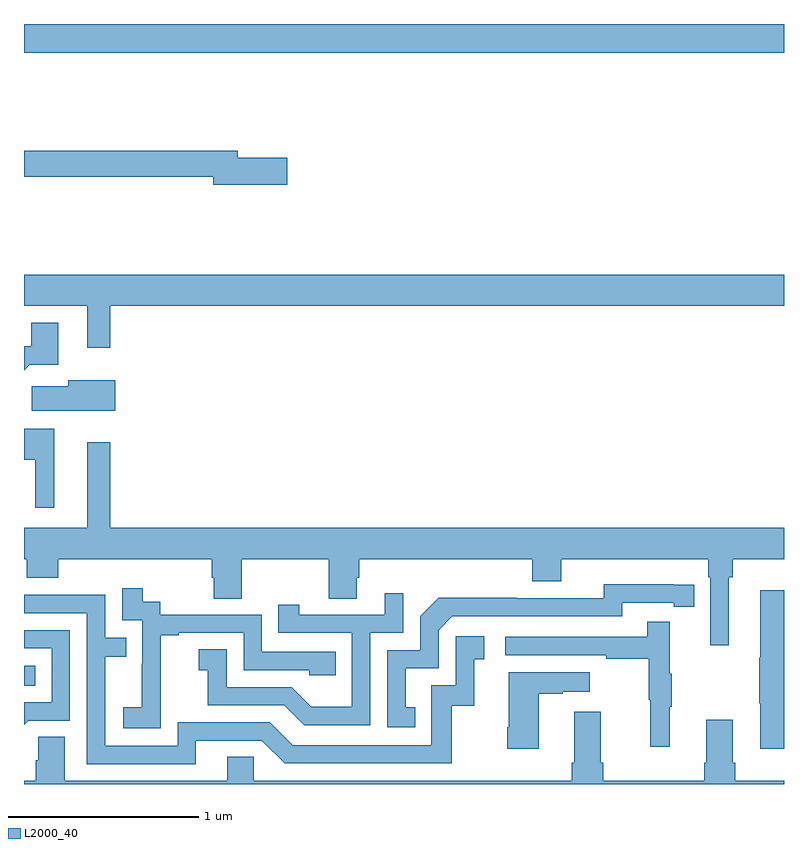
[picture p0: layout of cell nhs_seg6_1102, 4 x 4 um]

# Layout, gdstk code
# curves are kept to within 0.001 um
import gdstk
lib = gdstk.Library(unit=1e-6, precision=1e-09)
def R(c, l, rs):  # rectangles x0, y0, x1, y1
    for r in rs: c.add(gdstk.rectangle(r[:2], r[2:], *l))
def P(c, l, *ps):  # polygons
    for p in ps: c.add(gdstk.Polygon(p, *l))
L2000_40 = (2000, 40)

nhs_seg6_1102 = lib.new_cell('nhs_seg6_1102')
R(nhs_seg6_1102, L2000_40, [(179,932.018,179.06,932.122), (179,935.348,183,935.5)])
P(nhs_seg6_1102, L2000_40, [(180.385,934.796),(180.124,934.796),(180.124,934.832),(179,934.832),(179,934.696),(179.996,934.696),(179.996,934.654),(180.385,934.654)],
  [(179.455,934.016),(183,934.016),(183,934.18),(179,934.18),(179,934.016),(179.333,934.016),(179.333,933.795),(179.455,933.795)],
  [(179.03,933.707),(179.179,933.707),(179.179,933.928),(179.039,933.928),(179.039,933.805),(179,933.805),(179,933.677)],
  [(179.479,933.625),(179.234,933.625),(179.234,933.593),(179.04,933.593),(179.04,933.464),(179.479,933.464)],
  [(179.158,933.37),(179,933.37),(179,933.206),(179.06,933.206),(179.06,932.955),(179.158,932.955)],
  [(182.71,932.588),(182.729,932.588),(182.729,932.684),(183,932.684),(183,932.848),(179.455,932.848),(179.455,933.298),(179.333,933.298),(179.333,932.848),(179,932.848),(179,932.684),(179.015,932.684),(179.015,932.585),(179.18,932.585),(179.18,932.684),(179.987,932.684),(179.987,932.586),(179.999,932.586),(179.999,932.476),(180.147,932.476),(180.147,932.684),(180.604,932.684),(180.604,932.476),(180.751,932.476),(180.751,932.586),(180.764,932.586),(180.764,932.684),(181.676,932.684),(181.676,932.567),(181.828,932.567),(181.828,932.684),(182.6,932.684),(182.6,932.588),(182.613,932.588),(182.613,932.229),(182.71,932.229)],
  [(181.058,931.905),(181.009,931.905),(181.009,932.109),(181.182,932.109),(181.182,932.31),(181.254,932.382),(182.148,932.382),(182.148,932.454),(182.42,932.454),(182.42,932.434),(182.528,932.434),(182.528,932.55),(182.052,932.551),(182.052,932.478),(181.592,932.478),(181.592,932.48),(181.184,932.48),(181.086,932.382),(181.086,932.205),(180.912,932.205),(180.912,931.8),(181.058,931.8)],
  [(179.721,931.999),(179.72,931.999),(179.72,932.283),(179.815,932.283),(179.815,932.295),(180.156,932.295),(180.156,932.1),(180.501,932.1),(180.501,932.073),(180.641,932.073),(180.641,932.196),(180.252,932.196),(180.252,932.391),(179.718,932.391),(179.718,932.46),(179.626,932.46),(179.626,932.53),(179.517,932.53),(179.517,932.361),(179.622,932.361),(179.622,932.132),(179.621,932.132),(179.621,931.903),(179.523,931.903),(179.523,931.793),(179.721,931.793)],
  [(183,932.521),(182.876,932.521),(182.876,932.165),(182.869,932.165),(182.869,931.924),(182.876,931.924),(182.876,931.686),(183,931.686)],
  [(180.822,932.295),(180.996,932.295),(180.996,932.503),(180.899,932.503),(180.899,932.391),(180.448,932.391),(180.448,932.443),(180.337,932.443),(180.337,932.295),(180.726,932.295),(180.726,931.906),(180.512,931.906),(180.408,932.01),(180.066,932.01),(180.066,932.209),(179.919,932.209),(179.919,932.099),(179.968,932.099),(179.968,931.914),(180.371,931.914),(180.476,931.809),(180.822,931.809)],
  [(179.905,931.728),(180.252,931.728),(180.372,931.608),(181.252,931.608),(181.252,931.911),(181.37,931.911),(181.37,932.157),(181.423,932.157),(181.423,932.278),(181.272,932.278),(181.272,932.019),(181.143,932.019),(181.143,931.704),(180.414,931.704),(180.294,931.824),(179.808,931.824),(179.808,931.701),(179.427,931.701),(179.427,932.17),(179.537,932.17),(179.537,932.271),(179.427,932.271),(179.427,932.496),(179,932.496),(179,932.4),(179.331,932.4),(179.331,931.605),(179.905,931.605)],
  [(182.399,931.907),(182.41,931.907),(182.41,932.081),(182.399,932.081),(182.399,932.353),(182.281,932.353),(182.281,932.274),(181.533,932.274),(181.533,932.178),(182.065,932.178),(182.065,932.158),(182.289,932.158),(182.289,931.944),(182.296,931.944),(182.296,931.695),(182.399,931.695)],
  [(179.022,931.833),(179.241,931.833),(179.241,932.31),(179,932.31),(179,932.214),(179.145,932.214),(179.145,931.929),(179,931.929),(179,931.811)],
  [(181.708,931.975),(181.835,931.975),(181.835,931.985),(181.978,931.985),(181.978,932.089),(181.55,932.089),(181.55,931.798),(181.543,931.798),(181.543,931.686),(181.708,931.686)],
  [(183,931.516),(182.744,931.516),(182.744,931.612),(182.731,931.612),(182.731,931.837),(182.591,931.837),(182.591,931.612),(182.579,931.612),(182.579,931.516),(182.048,931.516),(182.048,931.612),(182.035,931.612),(182.035,931.879),(181.895,931.879),(181.895,931.612),(181.883,931.612),(181.883,931.516),(180.21,931.516),(180.21,931.643),(180.071,931.643),(180.071,931.516),(179.215,931.516),(179.215,931.748),(179.076,931.748),(179.076,931.625),(179.063,931.625),(179.063,931.516),(179,931.516),(179,931.5),(183,931.5)])

lib.write_gds('nhs_seg6_1102.gds')
